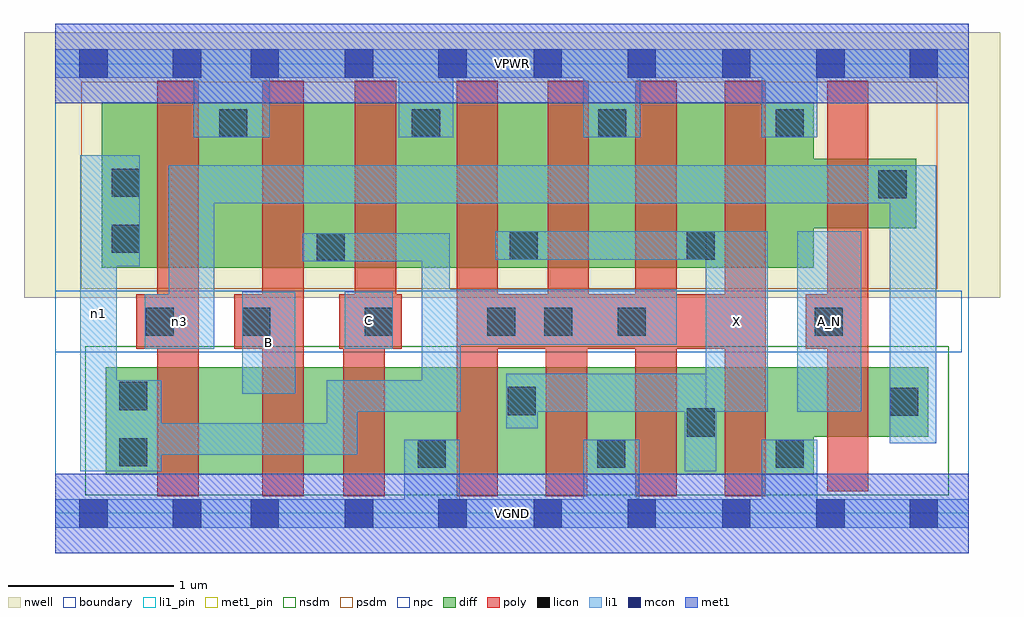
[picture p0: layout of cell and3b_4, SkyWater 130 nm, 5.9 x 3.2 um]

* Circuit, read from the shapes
.subckt and3b_4 A_N B C VGND VPWR X n1 n3
XM1 n2 n3 n1 VSUBS sky130_fd_pr__nfet_01v8 w=0.65 l=0.25
XM2 n4 B n2 VSUBS sky130_fd_pr__nfet_01v8 w=0.65 l=0.25
XM3 VGND C n4 VSUBS sky130_fd_pr__nfet_01v8 w=0.65 l=0.25
XM4 X n1 VGND VSUBS sky130_fd_pr__nfet_01v8 w=0.65 l=0.25 m=4
XM5 n3 A_N VGND VSUBS sky130_fd_pr__nfet_01v8 w=0.42 l=0.25
XM6 VPWR n3 n1 n5 sky130_fd_pr__pfet_01v8 w=1 l=0.25
XM7 n1 B VPWR n5 sky130_fd_pr__pfet_01v8 w=1 l=0.25
XM8 VPWR C n1 n5 sky130_fd_pr__pfet_01v8 w=1 l=0.25
XM9 X n1 VPWR n5 sky130_fd_pr__pfet_01v8 w=1 l=0.25 m=4
XM10 n3 A_N VPWR n5 sky130_fd_pr__pfet_01v8 w=0.42 l=0.25
.ends

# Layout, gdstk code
import gdstk
lib = gdstk.Library(unit=1e-6, precision=1e-09)
def R(c, l, rs):  # rectangles x0, y0, x1, y1
    for r in rs: c.add(gdstk.rectangle(r[:2], r[2:], *l))
def A(c, l, x, y, w, h, nx, ny, dx, dy):  # array of equal rectangles
    R(c, l, [(x+i*dx, y+j*dy, x+i*dx+w, y+j*dy+h) for i in range(nx) for j in range(ny)])
nwell = (64, 20)
diff = (65, 20)
poly = (66, 20)
licon = (66, 44)
li1_pin = (67, 16)
li1 = (67, 20)
mcon = (67, 44)
met1_pin = (68, 16)
met1 = (68, 20)
nsdm = (93, 44)
psdm = (94, 20)
npc = (95, 20)
boundary = (235, 4)

and3b_4 = lib.new_cell('and3b_4')
R(and3b_4, nwell, [(-0.19,1.305,5.71,2.91), (0,1.305,5.52,2.91)])
R(and3b_4, diff, [(0.305,0.235,4.585,0.885), (0.305,0.465,5.275,0.885), (0.28,1.485,4.585,2.485), (0.28,1.725,5.205,2.145)])
R(and3b_4, poly, [(0.615,0.105,0.865,2.615), (1.25,0.105,1.5,2.615), (1.74,0.105,1.99,1.325), (2.425,0.105,2.675,2.615), (2.965,0.105,3.215,1.325), (3.505,0.105,3.755,2.615), (4.045,0.105,4.295,2.615), (4.665,0.135,4.915,2.615), (0.49,0.995,0.865,1.325), (1.08,0.995,1.5,1.325), (1.715,0.995,2.095,1.325), (1.81,0.995,2.06,2.615), (2.425,0.995,4.295,1.325), (2.975,0.995,3.225,2.615), (4.535,0.995,4.915,1.325)])
A(and3b_4, licon, 1.13, 1.075, 0.17, 0.17, 3, 1, 0.74, 0)
R(and3b_4, licon, [(2.19,0.275,2.36,0.445), (3.275,0.275,3.445,0.445), (4.355,0.275,4.525,0.445), (0.385,0.285,0.555,0.455), (3.815,0.465,3.985,0.635), (5.045,0.59,5.215,0.76), (2.735,0.595,2.905,0.765), (0.385,0.625,0.555,0.795), (0.545,1.075,0.715,1.245), (2.955,1.075,3.125,1.245), (3.4,1.075,3.57,1.245), (4.59,1.075,4.76,1.245), (1.58,1.525,1.75,1.695), (2.745,1.535,2.915,1.705), (3.815,1.535,3.985,1.705), (0.34,1.575,0.51,1.745), (4.975,1.905,5.145,2.075), (0.34,1.915,0.51,2.085), (0.99,2.275,1.16,2.445), (2.155,2.275,2.325,2.445), (3.28,2.275,3.45,2.445), (4.355,2.275,4.525,2.445)])
R(and3b_4, li1_pin, [(3.93,0.615,4.305,1.705), (4.485,0.615,4.87,1.705), (1.13,0.725,1.45,1.34), (1.75,0.995,2.04,1.34)])
R(and3b_4, li1, [(0,-0.085,5.52,0.085), (2.11,-0.085,2.445,0.445), (3.19,-0.085,3.53,0.445), (4.27,-0.085,4.605,0.445), (0.15,0.255,0.37,2.165), (0.15,0.255,0.64,0.805), (3.805,0.255,3.995,0.845), (0.15,0.355,1.825,0.545), (1.64,0.355,1.825,0.805), (5.045,0.425,5.325,2.105), (2.725,0.515,2.915,0.845), (1.64,0.615,2.45,0.805), (2.215,0.615,2.385,1.695), (2.215,0.615,2.45,1.355), (2.725,0.615,4.305,0.845), (3.93,0.615,4.305,1.705), (4.485,0.615,4.87,1.705), (1.13,0.725,1.45,1.34), (0.54,0.995,0.96,1.325), (0.685,0.995,0.96,2.105), (1.75,0.995,2.04,1.34), (2.215,1.02,3.755,1.355), (0.15,1.495,0.51,2.165), (1.495,1.525,2.385,1.695), (2.66,1.535,4.305,1.705), (0.685,1.875,5.325,2.105), (0.835,2.275,1.295,2.805), (2.075,2.275,2.405,2.805), (3.19,2.275,3.535,2.805), (4.27,2.275,4.605,2.805), (0,2.635,5.52,2.805)])
A(and3b_4, mcon, 2.89, -0.085, 0.17, 0.17, 4, 2, 0.57, 2.72)
R(and3b_4, mcon, [(0.145,-0.085,0.315,0.085), (0.71,-0.085,0.88,0.085), (1.18,-0.085,1.35,0.085), (1.75,-0.085,1.92,0.085), (2.315,-0.085,2.485,0.085), (5.165,-0.085,5.335,0.085), (0.145,2.635,0.315,2.805), (0.71,2.635,0.88,2.805), (1.18,2.635,1.35,2.805), (1.75,2.635,1.92,2.805), (2.315,2.635,2.485,2.805), (5.165,2.635,5.335,2.805)])
R(and3b_4, met1_pin, [(0,-0.24,5.52,0.24), (0,2.48,5.52,2.96)])
R(and3b_4, met1, [(0,-0.24,5.52,0.24), (0,2.48,5.52,2.96)])
R(and3b_4, nsdm, [(0.18,0.11,5.4,1.01)])
R(and3b_4, psdm, [(0.155,1.36,5.33,2.61)])
R(and3b_4, npc, [(0,0.975,5.48,1.345)])
R(and3b_4, boundary, [(0,0,5.52,2.72)])
and3b_4.add(gdstk.Label('A_N', (4.677,1.16), layer=67, texttype=5))
and3b_4.add(gdstk.Label('B', (1.29,1.032), layer=67, texttype=5))
and3b_4.add(gdstk.Label('C', (1.895,1.167), layer=67, texttype=5))
and3b_4.add(gdstk.Label('X', (4.117,1.16), layer=67, texttype=5))
and3b_4.add(gdstk.Label('n3', (0.75,1.16), layer=67, texttype=5))
and3b_4.add(gdstk.Label('n1', (0.26,1.21), layer=67, texttype=5))
and3b_4.add(gdstk.Label('VPWR', (2.76,2.72), layer=68, texttype=5))
and3b_4.add(gdstk.Label('VGND', (2.76,0), layer=68, texttype=5))
and3b_4.add(gdstk.Label('A_N', (4.677,1.16), layer=67, texttype=16))
and3b_4.add(gdstk.Label('B', (1.29,1.032), layer=67, texttype=16))
and3b_4.add(gdstk.Label('C', (1.895,1.167), layer=67, texttype=16))
and3b_4.add(gdstk.Label('X', (4.117,1.16), layer=67, texttype=16))
and3b_4.add(gdstk.Label('VPWR', (2.76,2.72), layer=68, texttype=16))
and3b_4.add(gdstk.Label('VGND', (2.76,0), layer=68, texttype=16))

lib.write_gds('and3b_4.gds')
